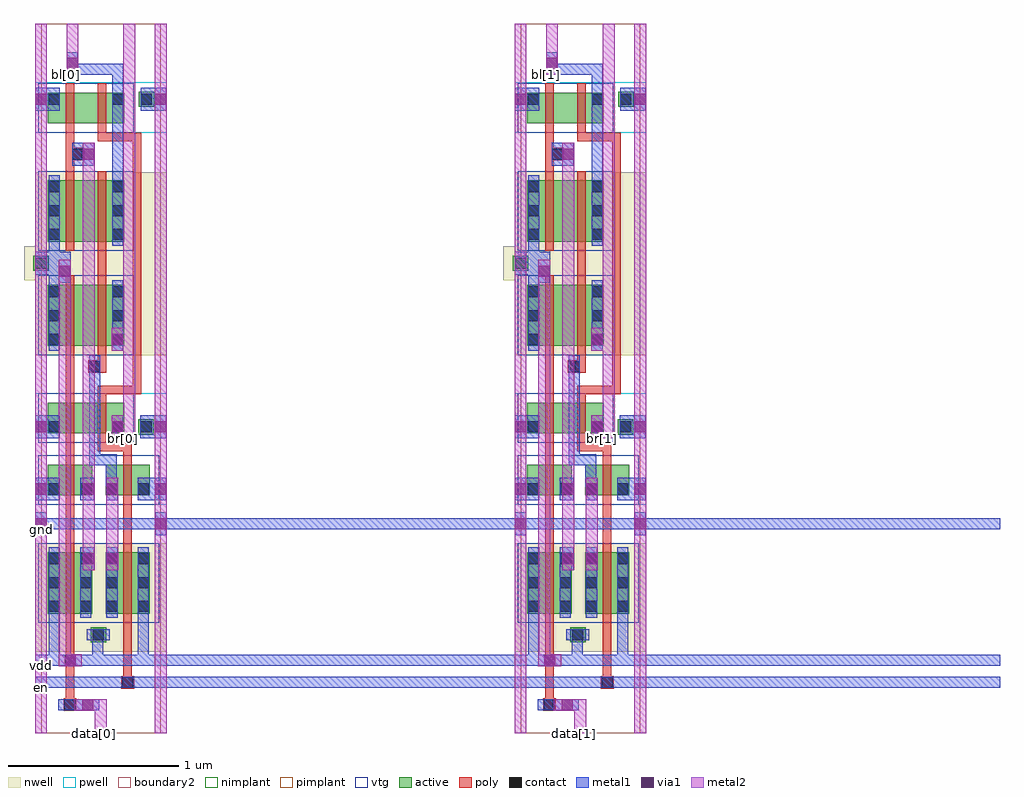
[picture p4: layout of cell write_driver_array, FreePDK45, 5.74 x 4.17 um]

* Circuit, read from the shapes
.subckt write_driver_array bl[0] bl[1] br[0] br[1] data[0] data[1] en gnd vdd
M1 n1 data[0] gnd gnd nfet w=0.18u l=0.05u
M2 n2 data[0] gnd gnd nfet w=0.18u l=0.05u
M3 n3 n1 gnd gnd nfet w=0.18u l=0.05u
M4 br[0] en n2 gnd nfet w=0.18u l=0.05u
M5 bl[0] en n3 gnd nfet w=0.18u l=0.05u
M6 gnd en n4 gnd nfet w=0.18u l=0.05u
M7 n5 data[1] gnd gnd nfet w=0.18u l=0.05u
M8 n6 data[1] gnd gnd nfet w=0.18u l=0.05u
M9 n7 n5 gnd gnd nfet w=0.18u l=0.05u
M10 br[1] en n6 gnd nfet w=0.18u l=0.05u
M11 bl[1] en n7 gnd nfet w=0.18u l=0.05u
M12 gnd en n8 gnd nfet w=0.18u l=0.05u
M13 n1 data[0] vdd vdd pfet w=0.36u l=0.05u
M14 n9 data[0] vdd vdd pfet w=0.36u l=0.05u
M15 n10 n1 vdd vdd pfet w=0.36u l=0.05u
M16 br[0] n4 n9 vdd pfet w=0.36u l=0.05u
M17 bl[0] n4 n10 vdd pfet w=0.36u l=0.05u
M18 vdd en n4 vdd pfet w=0.36u l=0.05u
M19 n5 data[1] vdd vdd pfet w=0.36u l=0.05u
M20 n11 data[1] vdd vdd pfet w=0.36u l=0.05u
M21 n12 n5 vdd vdd pfet w=0.36u l=0.05u
M22 br[1] n8 n11 vdd pfet w=0.36u l=0.05u
M23 bl[1] n8 n12 vdd pfet w=0.36u l=0.05u
M24 vdd en n8 vdd pfet w=0.36u l=0.05u
.ends

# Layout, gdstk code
import gdstk
lib = gdstk.Library(unit=1e-6, precision=5e-10)
def R(c, l, rs):  # rectangles x0, y0, x1, y1
    for r in rs: c.add(gdstk.rectangle(r[:2], r[2:], *l))
def A(c, l, x, y, w, h, nx, ny, dx, dy):  # array of equal rectangles
    R(c, l, [(x+i*dx, y+j*dy, x+i*dx+w, y+j*dy+h) for i in range(nx) for j in range(ny)])
active = (1, 0)
pwell = (2, 0)
nwell = (3, 0)
nimplant = (4, 0)
pimplant = (5, 0)
vtg = (6, 0)
poly = (9, 0)
contact = (10, 0)
metal1 = (11, 0)
via1 = (12, 0)
metal2 = (13, 0)
boundary2 = (239, 0)

write_driver = lib.new_cell('write_driver')
R(write_driver, active, [(0.2925,0.535,0.3825,0.625), (0.04,0.705,0.115,1.065), (0.04,0.705,0.115,1.065), (0.04,0.705,0.3,1.065), (0.225,0.705,0.3,1.065), (0.225,0.705,0.3,1.065), (0.38,0.705,0.455,1.065), (0.38,0.705,0.455,1.065), (0.38,0.705,0.64,1.065), (0.565,0.705,0.64,1.065), (0.565,0.705,0.64,1.065), (0.04,0.71,0.115,1.065), (0.225,0.71,0.3,1.065), (0.38,0.71,0.455,1.065), (0.565,0.71,0.64,1.065), (0.04,1.4,0.115,1.475), (0.04,1.4,0.115,1.58), (0.04,1.4,0.115,1.58), (0.04,1.4,0.3,1.58), (0.225,1.4,0.3,1.475), (0.225,1.4,0.3,1.58), (0.225,1.4,0.3,1.58), (0.38,1.4,0.455,1.475), (0.38,1.4,0.455,1.58), (0.38,1.4,0.455,1.58), (0.38,1.4,0.64,1.58), (0.565,1.4,0.64,1.475), (0.565,1.4,0.64,1.58), (0.565,1.4,0.64,1.58), (0.5725,1.7575,0.6625,1.8475), (0.04,1.765,0.115,1.84), (0.04,1.765,0.49,1.945), (0.04,1.765,0.115,1.945), (0.04,1.765,0.115,1.945), (0.1975,1.765,0.3375,1.945), (0.415,1.765,0.49,1.84), (0.415,1.765,0.49,1.945), (0.415,1.765,0.49,1.945), (0.04,2.28,0.115,2.635), (0.04,2.28,0.49,2.64), (0.04,2.28,0.115,2.64), (0.04,2.28,0.115,2.64), (0.1975,2.28,0.3375,2.64), (0.415,2.28,0.49,2.635), (0.415,2.28,0.49,2.64), (0.415,2.28,0.49,2.64), (-0.045,2.72,0.045,2.81), (0.04,2.8925,0.49,3.2525), (0.04,2.8925,0.115,3.2525), (0.04,2.8925,0.115,3.2525), (0.1925,2.8925,0.3325,3.2525), (0.415,2.8925,0.49,3.2525), (0.415,2.8925,0.49,3.2525), (0.04,2.8975,0.115,3.2525), (0.415,2.8975,0.49,3.2525), (0.04,3.5875,0.49,3.7675), (0.04,3.5875,0.115,3.7675), (0.04,3.5875,0.115,3.7675), (0.1925,3.5875,0.3325,3.7675), (0.415,3.5875,0.49,3.7675), (0.415,3.5875,0.49,3.7675), (0.575,3.685,0.665,3.775), (0.04,3.6925,0.115,3.7675), (0.415,3.6925,0.49,3.7675)])
R(write_driver, pwell, [(-0.035,1.345,0.74,2), (-0.015,1.345,0.355,1.635), (0.325,1.345,0.695,1.635), (0.5175,1.7025,0.7175,1.9025), (-0.015,1.71,0.545,2), (-0.035,3.5325,0.74,3.83), (-0.015,3.5325,0.545,3.8225), (0.52,3.63,0.72,3.83)])
R(write_driver, nwell, [(-0.035,0.48,0.74,1.12), (0.2375,0.48,0.4375,0.68), (-0.015,0.65,0.355,1.12), (0.325,0.65,0.695,1.12), (-0.035,2.225,0.74,3.3), (-0.015,2.225,0.545,2.695), (-0.1,2.665,0.1,2.865), (-0.015,2.8375,0.545,3.3075)])
R(write_driver, nimplant, [(0.2925,0.535,0.3825,0.625), (0.04,1.4,0.3,1.58), (0.38,1.4,0.64,1.58), (0.04,1.765,0.49,1.945), (-0.045,2.72,0.045,2.81), (0.04,3.5875,0.49,3.7675)])
R(write_driver, pimplant, [(0.04,0.705,0.3,1.065), (0.38,0.705,0.64,1.065), (0.5725,1.7575,0.6625,1.8475), (0.04,2.28,0.49,2.64), (0.04,2.8925,0.49,3.2525), (0.575,3.685,0.665,3.775)])
R(write_driver, vtg, [(-0.015,0.65,0.355,1.12), (0.325,0.65,0.695,1.12), (-0.015,1.345,0.355,1.635), (0.325,1.345,0.695,1.635), (-0.015,1.71,0.545,2), (-0.015,2.225,0.545,2.695), (-0.015,2.8375,0.545,3.3075), (-0.015,3.5325,0.545,3.8225)])
R(write_driver, poly, [(0.1325,0.1325,0.2075,0.2075), (0.145,0.1375,0.195,0.65), (0.4725,0.2625,0.5475,0.3375), (0.485,0.2675,0.535,0.65), (0.145,0.65,0.195,0.705), (0.145,0.65,0.195,1.12), (0.485,0.65,0.535,0.705), (0.485,0.65,0.535,1.12), (0.145,1.065,0.195,1.12), (0.485,1.065,0.535,1.12), (0.145,1.12,0.195,1.345), (0.485,1.12,0.535,1.345), (0.145,1.345,0.195,1.4), (0.145,1.345,0.195,1.635), (0.485,1.345,0.535,1.4), (0.485,1.345,0.535,1.635), (0.145,1.58,0.195,1.635), (0.485,1.58,0.535,1.635), (0.145,1.635,0.195,1.71), (0.485,1.635,0.535,1.66), (0.335,1.66,0.535,1.71), (0.145,1.71,0.195,1.765), (0.145,1.71,0.195,2), (0.335,1.71,0.385,1.765), (0.335,1.71,0.385,2), (0.145,1.945,0.195,2), (0.335,1.945,0.385,2), (0.335,1.995,0.59,2.045), (0.54,1.995,0.59,3.4825), (0.145,2,0.195,2.225), (0.2775,2.12,0.3525,2.195), (0.335,2.12,0.385,2.225), (0.145,2.225,0.195,2.28), (0.145,2.225,0.195,2.695), (0.335,2.225,0.385,2.28), (0.335,2.225,0.385,2.695), (0.145,2.64,0.195,2.695), (0.335,2.64,0.385,2.695), (0.335,2.695,0.385,2.8375), (0.145,2.8375,0.195,2.8925), (0.145,2.8375,0.195,3.3075), (0.335,2.8375,0.385,2.8925), (0.335,2.8375,0.385,3.3075), (0.145,3.2525,0.195,3.3075), (0.335,3.2525,0.385,3.3075), (0.145,3.3075,0.195,3.5325), (0.18,3.37,0.255,3.445), (0.335,3.4825,0.59,3.5325), (0.145,3.5325,0.195,3.5875), (0.145,3.5325,0.195,3.8225), (0.335,3.5325,0.385,3.5875), (0.335,3.5325,0.385,3.8225), (0.145,3.7675,0.195,3.8225), (0.335,3.7675,0.385,3.8225)])
A(write_driver, contact, 0.045, 0.715, 0.065, 0.065, 1, 3, 0, 0.14)
A(write_driver, contact, 0.23, 0.715, 0.065, 0.065, 1, 3, 0, 0.14)
A(write_driver, contact, 0.385, 0.715, 0.065, 0.065, 1, 3, 0, 0.14)
A(write_driver, contact, 0.57, 0.715, 0.065, 0.065, 1, 3, 0, 0.14)
A(write_driver, contact, 0.045, 2.285, 0.065, 0.065, 1, 3, 0, 0.14)
A(write_driver, contact, 0.42, 2.285, 0.065, 0.065, 1, 3, 0, 0.14)
A(write_driver, contact, 0.045, 2.9025, 0.065, 0.065, 1, 3, 0, 0.14)
A(write_driver, contact, 0.42, 2.9025, 0.065, 0.065, 1, 3, 0, 0.14)
R(write_driver, contact, [(0.1375,0.1375,0.2025,0.2025), (0.4775,0.2675,0.5425,0.3325), (0.305,0.5475,0.37,0.6125), (0.045,1.405,0.11,1.47), (0.23,1.405,0.295,1.47), (0.385,1.405,0.45,1.47), (0.57,1.405,0.635,1.47), (0.045,1.77,0.11,1.835), (0.42,1.77,0.485,1.835), (0.585,1.77,0.65,1.835), (0.2825,2.125,0.3475,2.19), (-0.0325,2.7325,0.0325,2.7975), (0.185,3.375,0.25,3.44), (0.045,3.6975,0.11,3.7625), (0.42,3.6975,0.485,3.7625), (0.5875,3.6975,0.6525,3.7625)])
R(write_driver, metal1, [(0.2075,0.135,0.3425,0.2), (0.1025,0.1375,0.2375,0.2025), (-0.035,0.2675,0.74,0.3325), (-0.035,0.2675,0.74,0.3325), (0.295,0.2675,0.3675,0.3325), (0.4425,0.2675,0.5775,0.3325), (-0.035,0.3975,0.74,0.4625), (-0.035,0.3975,0.74,0.4625), (0.105,0.3975,0.24,0.4625), (0.2975,0.3975,0.3675,0.4625), (0.045,0.4625,0.11,0.68), (0.3025,0.4625,0.3675,0.6125), (0.57,0.4625,0.635,0.68), (0.27,0.5475,0.405,0.6125), (0.045,0.68,0.11,1.095), (0.23,0.68,0.295,1.095), (0.385,0.68,0.45,1.095), (0.57,0.68,0.635,1.095), (0.2475,0.96,0.3125,1.095), (0.3875,0.96,0.4525,1.095), (-0.0325,1.165,0.0325,1.3), (0.6725,1.165,0.7375,1.3), (-0.035,1.2,0.74,1.265), (-0.035,1.2,0.74,1.265), (0.32,1.2025,0.3775,1.2625), (-0.0325,1.37,0.0325,1.505), (0.0275,1.37,0.04,1.505), (0.035,1.37,0.045,1.505), (0.045,1.37,0.11,1.505), (0.23,1.37,0.295,1.505), (0.2475,1.37,0.3125,1.505), (0.385,1.37,0.45,1.505), (0.3875,1.37,0.4525,1.505), (0.57,1.37,0.635,1.505), (0.63,1.37,0.6725,1.505), (0.6725,1.37,0.7375,1.505), (0.38,1.4525,0.445,1.5775), (0.2825,1.5775,0.445,1.6425), (0.2825,1.5775,0.3475,2.175), (-0.0325,1.735,0.0325,1.87), (0.0275,1.735,0.04,1.87), (0.035,1.735,0.045,1.87), (0.045,1.735,0.11,1.87), (0.4175,1.735,0.4825,1.87), (0.42,1.735,0.485,1.87), (0.585,1.735,0.65,1.87), (0.65,1.735,0.6725,1.87), (0.6725,1.735,0.7375,1.87), (0.2825,2.09,0.3475,2.225), (0.045,2.25,0.11,2.665), (0.4175,2.25,0.4825,2.385), (0.42,2.25,0.485,2.665), (0.095,2.65,0.11,2.785), (0.1075,2.65,0.1725,2.785), (0.045,2.665,0.11,2.8675), (-0.0325,2.6975,0.0325,2.8325), (0.0325,2.6975,0.175,2.8325), (0.045,2.8675,0.11,3.2825), (0.42,2.8675,0.485,3.2825), (0.42,3.2825,0.485,3.6625), (0.185,3.34,0.25,3.475), (0.2475,3.34,0.3125,3.475), (-0.0325,3.6625,0.0325,3.7975), (0.0275,3.6625,0.04,3.7975), (0.035,3.6625,0.045,3.7975), (0.045,3.6625,0.11,3.7975), (0.42,3.6625,0.485,3.7975), (0.5875,3.6625,0.6525,3.7975), (0.6525,3.6625,0.6725,3.7975), (0.6725,3.6625,0.7375,3.7975), (0.42,3.7975,0.485,3.8725), (0.15,3.8725,0.485,3.9375), (0.1525,3.8725,0.2175,4.0075)])
R(write_driver, via1, [(0.2425,0.135,0.3075,0.2), (0.14,0.3975,0.205,0.4625), (0.2475,0.995,0.3125,1.06), (0.3875,0.995,0.4525,1.06), (-0.0325,1.2,0.0325,1.265), (0.6725,1.2,0.7375,1.265), (-0.0325,1.405,0.0325,1.47), (0.2475,1.405,0.3125,1.47), (0.3875,1.405,0.4525,1.47), (0.6725,1.405,0.7375,1.47), (-0.0325,1.77,0.0325,1.835), (0.4175,1.77,0.4825,1.835), (0.6725,1.77,0.7375,1.835), (0.4175,2.285,0.4825,2.35), (0.1075,2.685,0.1725,2.75), (0.2475,3.375,0.3125,3.44), (-0.0325,3.6975,0.0325,3.7625), (0.6725,3.6975,0.7375,3.7625), (0.1525,3.9075,0.2175,3.9725)])
R(write_driver, metal2, [(-0.035,0,0.035,4.175), (0.3175,0,0.3875,0.14), (0.3175,0,0.3875,0.14), (0.67,0,0.74,4.175), (0.32,0.005,0.385,0.0675), (0.195,0.1325,0.3875,0.2025), (0.2075,0.1325,0.3425,0.2025), (0.105,0.395,0.24,0.465), (0.105,0.465,0.175,2.785), (0.245,0.96,0.315,1.095), (0.385,0.96,0.455,1.095), (0.245,1.095,0.315,1.37), (0.385,1.095,0.455,1.37), (-0.035,1.165,0.035,1.3), (0.67,1.165,0.74,1.3), (-0.035,1.37,0.035,1.505), (0.245,1.37,0.315,1.505), (0.245,1.37,0.315,3.4675), (0.385,1.37,0.455,1.505), (0.67,1.37,0.74,1.505), (-0.035,1.735,0.035,1.87), (0.415,1.735,0.485,1.87), (0.485,1.735,0.555,4.175), (0.485,1.735,0.555,4.175), (0.67,1.735,0.74,1.87), (0.415,2.25,0.485,2.385), (0.105,2.65,0.175,2.785), (0.245,3.34,0.315,3.475), (-0.035,3.6625,0.035,3.7975), (0.67,3.6625,0.74,3.7975), (0.15,3.8725,0.22,4.0075), (0.15,3.875,0.22,4.175), (0.15,3.875,0.22,4.175), (0.15,4.11,0.22,4.175), (0.4875,4.115,0.5525,4.175)])
R(write_driver, boundary2, [(0,0,0.705,4.175)])
write_driver.add(gdstk.Label('bl', (0.19,4.138), layer=13, texttype=0))
write_driver.add(gdstk.Label('din', (0.3575,0.0375), layer=13, texttype=0))
write_driver.add(gdstk.Label('br', (0.52,4.15), layer=13, texttype=0))
write_driver.add(gdstk.Label('l = 0.05', (0.395,3.6775), layer=230, texttype=0))
write_driver.add(gdstk.Label('w = 0.18', (0.36,3.5225), layer=230, texttype=0))
write_driver.add(gdstk.Label('l = 0.05', (0.205,3.6775), layer=230, texttype=0))
write_driver.add(gdstk.Label('w = 0.18', (0.17,3.5225), layer=230, texttype=0))
write_driver.add(gdstk.Label('l = 0.05', (0.135,1.855), layer=230, texttype=0))
write_driver.add(gdstk.Label('w = 0.18', (0.17,2.01), layer=230, texttype=0))
write_driver.add(gdstk.Label('l = 0.05', (0.325,1.855), layer=230, texttype=0))
write_driver.add(gdstk.Label('w = 0.18', (0.36,2.01), layer=230, texttype=0))
write_driver.add(gdstk.Label('l = 0.05', (0.395,3.0725), layer=230, texttype=0))
write_driver.add(gdstk.Label('w = 0.36', (0.36,2.8275), layer=230, texttype=0))
write_driver.add(gdstk.Label('l = 0.05', (0.205,3.0725), layer=230, texttype=0))
write_driver.add(gdstk.Label('w = 0.36', (0.17,2.8275), layer=230, texttype=0))
write_driver.add(gdstk.Label('l = 0.05', (0.135,2.46), layer=230, texttype=0))
write_driver.add(gdstk.Label('w = 0.36', (0.17,2.705), layer=230, texttype=0))
write_driver.add(gdstk.Label('l = 0.05', (0.325,2.46), layer=230, texttype=0))
write_driver.add(gdstk.Label('w = 0.36', (0.36,2.705), layer=230, texttype=0))
write_driver.add(gdstk.Label('l = 0.05', (0.205,0.885), layer=230, texttype=0))
write_driver.add(gdstk.Label('w = 0.36', (0.17,0.64), layer=230, texttype=0))
write_driver.add(gdstk.Label('l = 0.05', (0.475,0.885), layer=230, texttype=0))
write_driver.add(gdstk.Label('w = 0.36', (0.51,0.64), layer=230, texttype=0))
write_driver.add(gdstk.Label('l = 0.05', (0.205,1.49), layer=230, texttype=0))
write_driver.add(gdstk.Label('w = 0.18', (0.17,1.645), layer=230, texttype=0))
write_driver.add(gdstk.Label('l = 0.05', (0.475,1.49), layer=230, texttype=0))
write_driver.add(gdstk.Label('w = 0.18', (0.51,1.645), layer=230, texttype=0))
write_driver.add(gdstk.Label('gnd', (0.3425,1.235), layer=11, texttype=0))
write_driver.add(gdstk.Label('en', (0.3325,0.3), layer=11, texttype=0))
write_driver.add(gdstk.Label('vdd', (0.335,0.4325), layer=11, texttype=0))
write_driver.add(gdstk.Label('din', (0.3175,0), layer=13, texttype=0))
write_driver.add(gdstk.Label('en', (-0.035,0.2675), layer=11, texttype=0))
write_driver.add(gdstk.Label('br', (0.485,1.735), layer=13, texttype=0))
write_driver.add(gdstk.Label('bl', (0.15,3.875), layer=13, texttype=0))
write_driver.add(gdstk.Label('vdd', (-0.035,0.3975), layer=11, texttype=0))
write_driver.add(gdstk.Label('gnd', (-0.035,1.2), layer=11, texttype=0))

write_driver_array = lib.new_cell('write_driver_array')
R(write_driver_array, metal1, [(0,0.2675,5.64,0.3325), (0,0.3975,5.64,0.4625), (0,1.2,5.64,1.265)])
R(write_driver_array, metal2, [(0.3175,0,0.3875,0.14), (3.1375,0,3.2075,0.14), (0.485,1.735,0.555,4.175), (3.305,1.735,3.375,4.175), (0.15,3.875,0.22,4.175), (2.97,3.875,3.04,4.175)])
write_driver_array.add(gdstk.Reference(write_driver, (0,0)))
write_driver_array.add(gdstk.Reference(write_driver, (2.82,0)))
write_driver_array.add(gdstk.Label('data[0]', (0.3175,0), layer=13, texttype=0))
write_driver_array.add(gdstk.Label('data[1]', (3.1375,0), layer=13, texttype=0))
write_driver_array.add(gdstk.Label('en', (0,0.2675), layer=11, texttype=0))
write_driver_array.add(gdstk.Label('bl[0]', (0.15,3.875), layer=13, texttype=0))
write_driver_array.add(gdstk.Label('bl[1]', (2.97,3.875), layer=13, texttype=0))
write_driver_array.add(gdstk.Label('br[1]', (3.305,1.735), layer=13, texttype=0))
write_driver_array.add(gdstk.Label('vdd', (0,0.3975), layer=11, texttype=0))
write_driver_array.add(gdstk.Label('gnd', (0,1.2), layer=11, texttype=0))
write_driver_array.add(gdstk.Label('br[0]', (0.485,1.735), layer=13, texttype=0))

lib.write_gds('write_driver_array.gds')
